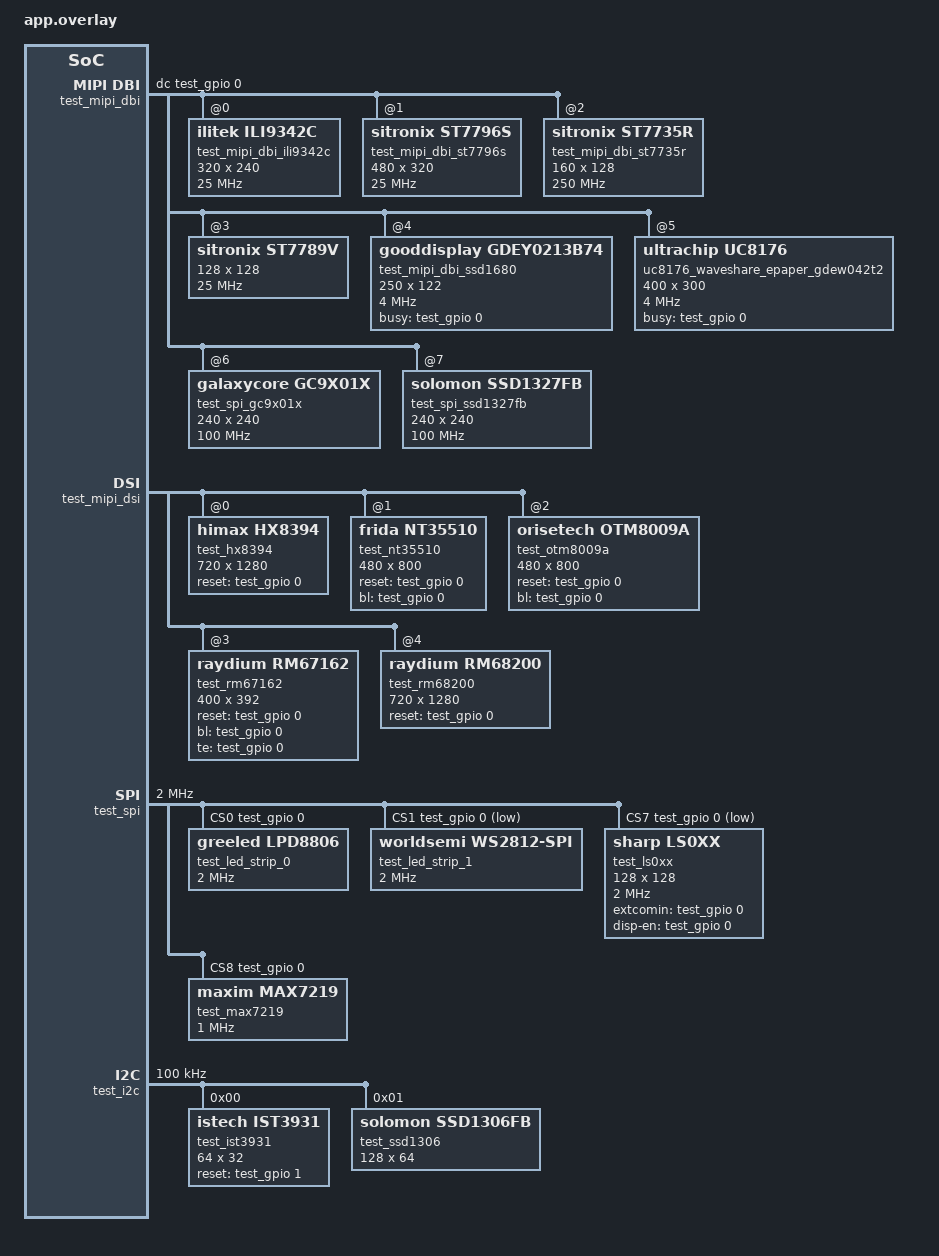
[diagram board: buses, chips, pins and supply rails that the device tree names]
/*
 * Copyright (c) 2022, Kumar Gala <galak@kernel.org>
 *
 * SPDX-License-Identifier: Apache-2.0
 *
 * Application overlay for testing driver builds
 *
 * Names in this file should be chosen in a way that won't conflict
 * with real-world devicetree nodes, to allow these tests to run on
 * (and be extended to test) real hardware.
 */

#include <zephyr/dt-bindings/led/led.h>
#include <zephyr/dt-bindings/mipi_dbi/mipi_dbi.h>

/ {
	test {
		#address-cells = <1>;
		#size-cells = <1>;

		test_gpio: gpio@deadbeef {
			compatible = "vnd,gpio";
			gpio-controller;
			reg = <0xdeadbeef 0x1000>;
			#gpio-cells = <0x2>;
			status = "okay";
		};

		test_mipi_dbi {
			compatible = "zephyr,mipi-dbi-spi";
			status = "okay";
			dc-gpios = <&test_gpio 0 0>;
			spi-dev = <&test_spi>;
			#address-cells = <1>;
			#size-cells = <0>;

			test_mipi_dbi_ili9342c: ili9342c@0 {
				compatible = "ilitek,ili9342c";
				reg = <0>;
				mipi-max-frequency = <25000000>;
				pixel-format = <0>;
				rotation = <270>;
				width = <320>;
				height = <240>;
			};

			test_mipi_dbi_st7796s: st7796s@1 {
				compatible = "sitronix,st7796s";
				reg = <1>;
				mipi-max-frequency = <25000000>;
				height = <320>;
				width = <480>;
				/* Use dummy values for PCG and NGC,
				 * As this won't drive a real panel
				 */
				pgc = [F0 06 0B 07 06 05 2E 33 47 3A 17 16 2E 31];
				ngc = [F0 09 0D 09 08 23 2E 33 46 38 13 13 2C 32];
			};

			test_mipi_dbi_st7735r: st7735t@2 {
				compatible = "sitronix,st7735r";
				mipi-max-frequency = <250000000>;
				mipi-mode = <MIPI_DBI_MODE_SPI_4WIRE>;
				reg = <2>;
				/* Arbitrary values */
				x-offset = <0>;
				y-offset = <0>;
				gamctrp1 = [10 0E 02 03 0E 07 02 07 0A 12 27 37 00 0D 0E 10];
				gamctrn1 = [10 0E 03 03 0F 06 02 08 0A 13 26 36 00 0D 0E 10];
				width = <160>;
				height = <128>;
			};

			st7789v: st7789v@3 {
				compatible = "sitronix,st7789v";
				reg = <3>;
				mipi-max-frequency = <25000000>;

				width = <128>;
				height = <128>;
				/* Arbiratry values */
				x-offset = <0>;
				y-offset = <0>;
				vcom = <0x28>;
				gctrl = <0x35>;
				vrhs = <0x10>;
				vdvs = <0x20>;
				mdac = <0x00>;
				gamma = <0x01>;
				colmod = <0x55>;
				lcm = <0x0c>;
				porch-param = [0c 0c 00 33 33];
				cmd2en-param = [5a 69 02 00];
				pwctrl1-param = [a4 a1];
				pvgam-param = [d0 00 02 07 0a 28 32 44 42 06 0e 12 14 17];
				nvgam-param = [d0 00 02 07 0a 28 31 54 47 0e 1c 17 1b 1e];
				ram-param = [00 E0];
				rgb-param = [40 02 14];
				mipi-mode = <MIPI_DBI_MODE_SPI_4WIRE>;
			};

			test_mipi_dbi_ssd1680: ssd1680@4 {
				compatible = "gooddisplay,gdey0213b74", "solomon,ssd1680";
				mipi-max-frequency = <4000000>;
				reg = <4>;
				width = <250>;
				height = <122>;
				busy-gpios = <&test_gpio 0 0>;
			};

			uc8176_waveshare_epaper_gdew042t2: uc8176@5 {
				compatible = "ultrachip,uc8176";
				mipi-max-frequency = <4000000>;
				reg = <5>;
				width = <400>;
				height = <300>;
				busy-gpios = <&test_gpio 0 0>;

				/* Arbirary settings */
				softstart = [17 17 17];

				full {
					pwr = [03 00 26 26 09];
					cdi = <0xd7>;
					tcon = <0x22>;
				};
			};

			test_spi_gc9x01x: gc9x01x@6 {
				compatible = "galaxycore,gc9x01x";
				reg = <6>;
				mipi-max-frequency = <100000000>;
				pixel-format = <16>;

				width = <240>;
				height = <240>;
			};

			test_spi_ssd1327fb: ssd1327fb@7 {
				compatible = "solomon,ssd1327fb";
				reg = <7>;
				mipi-max-frequency = <100000000>;

				width = <240>;
				height = <240>;
				oscillator-freq = <0>;
				display-offset = <0>;
				start-line = <0>;
				multiplex-ratio = <0>;
				prechargep = <0>;
				remap-value = <0>;
			};
		};

		test_mipi_dsi {
			compatible = "vnd,mipi-dsi";
			#address-cells = <1>;
			#size-cells = <0>;
			status = "okay";

			test_hx8394: hx8394@0 {
				status = "okay";
				compatible = "himax,hx8394";
				reg = <0x0>;
				reset-gpios = <&test_gpio 0 0>;
				data-lanes = <2>;
				width = <720>;
				height = <1280>;
				pixel-format = <0>;
			};

			test_nt35510: nt35510@1 {
				status = "okay";
				compatible = "frida,nt35510";
				reg = <0x1>;
				height = <800>;
				width = <480>;
				reset-gpios = <&test_gpio 0 0>;
				bl-gpios = <&test_gpio 0 0>;
				data-lanes = <2>;
				pixel-format = <0>;
				rotation = <90>;
			};

			test_otm8009a: otm8009a@2 {
				status = "okay";
				compatible = "orisetech,otm8009a";
				reg = <0x2>;
				height = <800>;
				width = <480>;
				reset-gpios = <&test_gpio 0 0>;
				bl-gpios = <&test_gpio 0 0>;
				data-lanes = <2>;
				pixel-format = <0>;
				rotation = <90>;
			};

			test_rm67162: rm67162@3 {
				status = "okay";
				compatible = "raydium,rm67162";
				reg = <0x3>;
				reset-gpios = <&test_gpio 0 0>;
				bl-gpios = <&test_gpio 0 0>;
				te-gpios = <&test_gpio 0 0>;
				data-lanes = <1>;
				width = <400>;
				height = <392>;
				pixel-format = <0>;
			};

			test_rm68200: rm68200@4 {
				status = "okay";
				compatible = "raydium,rm68200";
				reg = <0x4>;
				reset-gpios = <&test_gpio 0 0>;
				data-lanes = <2>;
				width = <720>;
				height = <1280>;
				pixel-format = <0>;
			};
		};

		test_spi: spi@33334444 {
			#address-cells = <1>;
			#size-cells = <0>;
			compatible = "vnd,spi";
			reg = <0x33334444 0x1000>;
			status = "okay";
			clock-frequency = <2000000>;

			/* one entry for every device. Note that this must
			 * include MIPI DBI devices as well.
			 */
			cs-gpios = <&test_gpio 0 0 &test_gpio 0 1 &test_gpio 0 2
				&test_gpio 0 3 &test_gpio 0 4 &test_gpio 0 5
				&test_gpio 0 6 &test_gpio 0 7 &test_gpio 0 8>;

			test_led_strip_0: lpd8806@0 {
				compatible = "greeled,lpd8806";
				reg = <0>;
				spi-max-frequency = <2000000>;
				chain-length = <1>;
				color-mapping = <LED_COLOR_ID_RED
						 LED_COLOR_ID_GREEN
						 LED_COLOR_ID_BLUE>;
			};

			test_led_strip_1: ws2812_spi@1 {
				compatible = "worldsemi,ws2812-spi";
				reg = <1>;
				spi-max-frequency = <2000000>;
				spi-one-frame = <1>;
				spi-zero-frame = <1>;
				chain-length = <256>;
				color-mapping = <0 1 2>;
				reset-delay = <280>;
			};

			test_ls0xx: ls0xx@7 {
				compatible = "sharp,ls0xx";
				spi-max-frequency = <2000000>;
				reg = <0x7>;
				width = <128>;
				height = <128>;
				extcomin-gpios = <&test_gpio 0 0>;
				extcomin-frequency = <60>;
				disp-en-gpios = <&test_gpio 0 0>;
			};

			test_max7219: max7219@8 {
				compatible = "maxim,max7219";
				reg = <0x8>;
				spi-max-frequency = <1000000>;
				num-cascading = <1>;
				intensity = <0>;
				scan-limit = <7>;
			};
		};

		test_led_strip_matrix {
			compatible = "led-strip-matrix";
			status = "okay";

			led-strips = <&test_led_strip_0>, <&test_led_strip_1>;
			chain-lengths = <256>, <256>;
			width = <32>;
			height = <16>;
			horizontal-modules = <2>;
			vertical-modules = <1>;
			circulative;
			start-from-right;
		};

		test_i2c:i2c@60013000{
			#address-cells = <1>;
			#size-cells = <0>;
			compatible="vnd,i2c";
			reg = <0x60013000 0x1000>;
			status="okay";
			clock-frequency=<100000>;

			test_ist3931:ist3931@0 {
				reg=<0x0>;
				width=<64>;
				height=<32>;
				compatible = "istech,ist3931";
				reset-gpios =<&test_gpio 1 0>;
				x-offset=<0>;
				y-offset=<32>;
				voltage-converter;
				voltage-follower;
				lcd-bias=<3>;
				lcd-ct=<223>;
				duty-ratio=<64>;
				frame-control=<400>;
				reverse-com-output;
			};

			test_ssd1306: ssd1306@1 {
				compatible = "solomon,ssd1306fb";
				reg = <0x1>;
				width = <128>;
				height = <64>;
				segment-offset = <0>;
				page-offset = <0>;
				display-offset = <0>;
				multiplex-ratio = <63>;
				segment-remap;
				com-invdir;
				prechargep = <0x22>;
			};
		};
	};
};
